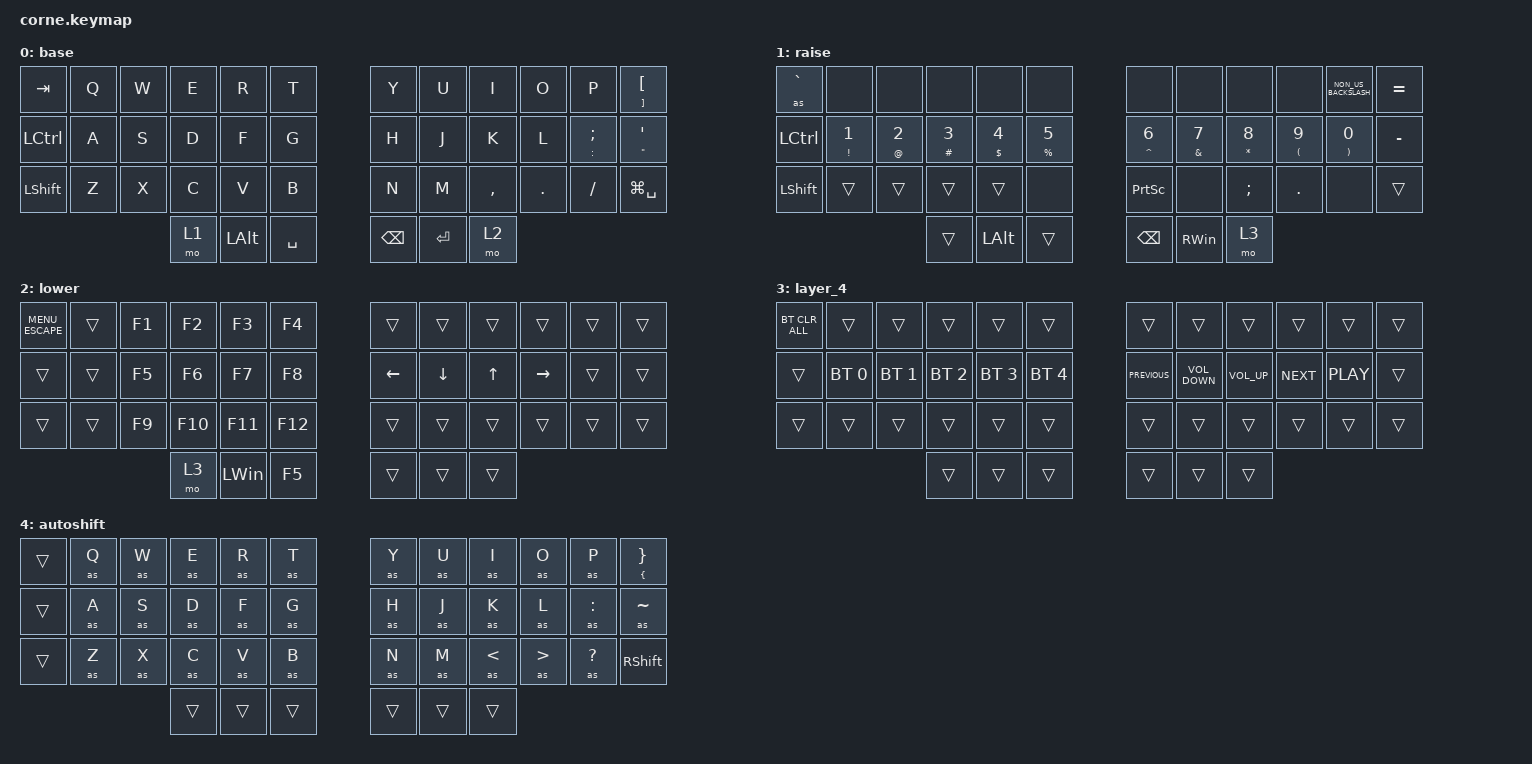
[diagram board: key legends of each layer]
/*
 * Copyright (c) 2020 The ZMK Contributors
 *
 * SPDX-License-Identifier: MIT
 */

#include <behaviors.dtsi>
#include <dt-bindings/zmk/bt.h>
#include <dt-bindings/zmk/keys.h>
#include <dt-bindings/zmk/rgb.h>

/*
 * Temporarily here because nice nano v2 spi is not defined on ZMk Yet
 * Source: https://github.com/zmkfirmware/zmk/blob/main/app/boards/shields/reviung41/boards/nice_nano.overlay
 * GitHub Issue: https://github.com/zmkfirmware/zmk/issues/885
 */

#include <dt-bindings/led/led.h>

&pinctrl {
    spi3_default: spi3_default {
        group1 {
            psels = <NRF_PSEL(SPIM_MOSI, 0, 6)>;
        };
    };

    spi3_sleep: spi3_sleep {
        group1 {
            psels = <NRF_PSEL(SPIM_MOSI, 0, 6)>;
            low-power-enable;
        };
    };
};

&spi3 {
  compatible = "nordic,nrf-spim";
  status = "okay";

  pinctrl-0 = <&spi3_default>;
  pinctrl-1 = <&spi3_sleep>;
  pinctrl-names = "default", "sleep";

  led_strip: ws2812@0 {
    compatible = "worldsemi,ws2812-spi";

    /* SPI */
    reg = <0>; /* ignored, but necessary for SPI bindings */
    spi-max-frequency = <4000000>;

    /* WS2812 */
    chain-length = <27>; /* number of LEDs */
    spi-one-frame = <0x70>;
    spi-zero-frame = <0x40>;
    color-mapping = <LED_COLOR_ID_GREEN
                          LED_COLOR_ID_RED
                          LED_COLOR_ID_BLUE>;
  };
};

/ {
	chosen {
		zmk,underglow = &led_strip;
	};
};

#include <behaviors.dtsi>
#include <dt-bindings/zmk/bt.h>
#include <dt-bindings/zmk/keys.h>
#include <dt-bindings/zmk/rgb.h>

/ {
    macros {
        rgb_layer: rgb_layer {
            compatible = "zmk,behavior-macro-two-param";
            #binding-cells = <2>;
            bindings =
                <&macro_param_2to2 &rgb_ug RGB_COLOR_HSB_CMD MACRO_PLACEHOLDER &macro_param_1to1>,
                <&macro_press>,
                <&mo MACRO_PLACEHOLDER>,
                <&macro_pause_for_release>,
                <&macro_release>,
                <&macro_param_1to1 &mo MACRO_PLACEHOLDER>,
                <&macro_tap>,
                <&rgb_ug RGB_TOG>;

            label = "RGB_LAYER";
        };

        as: as {
            compatible = "zmk,behavior-macro-one-param";
            #binding-cells = <1>;
            bindings =
                <&macro_press>,
                <&macro_param_1to1 &macro_param_1to2 &as_ht MACRO_PLACEHOLDER MACRO_PLACEHOLDER>,
                <&macro_pause_for_release>,
                <&macro_release>,
                <&macro_param_1to1 &macro_param_1to2 &as_ht MACRO_PLACEHOLDER MACRO_PLACEHOLDER>;

            label = "AS";
        };

        shift: shift {
            compatible = "zmk,behavior-macro-one-param";
            #binding-cells = <1>;
            bindings =
                <&macro_press>,
                <&kp LEFT_SHIFT>,
                <&macro_tap>,
                <&macro_param_1to1 &kp MACRO_PLACEHOLDER>,
                <&macro_release>,
                <&kp LEFT_SHIFT>;

            label = "SHIFT";
        };

        not_eq: not_eq {
            compatible = "zmk,behavior-macro";
            #binding-cells = <0>;
            bindings = <&kp EXCLAMATION &kp EQUAL>;
            label = "NOT_EQ";
        };

        go_new_var: go_new_var {
            compatible = "zmk,behavior-macro";
            #binding-cells = <0>;
            bindings = <&kp COLON &kp EQUAL>;
            label = "GO_NEW_VAR";
        };

        eq_eq: eq_eq {
            compatible = "zmk,behavior-macro";
            #binding-cells = <0>;
            bindings = <&kp EQUAL &kp EQUAL>;
            label = "EQ_EQ";
        };

        gt_eq: gt_eq {
            compatible = "zmk,behavior-macro";
            #binding-cells = <0>;
            bindings = <&kp GT &kp EQUAL>;
            label = "GT_EQ";
        };

        lt_eq: lt_eq {
            compatible = "zmk,behavior-macro";
            #binding-cells = <0>;
            bindings = <&kp LT &kp EQUAL>;
            label = "LT_EQ";
        };
    };

    behaviors {
        rhold: rhold {
            compatible = "zmk,behavior-hold-tap";
            label = "RHOLD";
            bindings = <&kp>, <&kp>;

            #binding-cells = <2>;
            tapping-term-ms = <200>;
            hold-trigger-key-positions = <6 7 8 9 10 11 18 19 20 21 22 23 30 31 32 33 34 35 39 40 41>;
        };

        lhold: lhold {
            compatible = "zmk,behavior-hold-tap";
            label = "LHOLD";
            bindings = <&kp>, <&kp>;

            #binding-cells = <2>;
            hold-trigger-key-positions = <0 1 2 3 4 5 12 13 14 15 16 17 24 25 26 27 28 29 36 37 38>;
            tapping-term-ms = <200>;
        };

        as_ht: autoshift_hold_tap {
            compatible = "zmk,behavior-hold-tap";
            label = "AUTOSHIFT_HOLD_TAP";
            bindings = <&shift>, <&kp>;

            #binding-cells = <2>;
            tapping-term-ms = <200>;
            flavor = "tap-preferred";
        };
    };

    combos {
        compatible = "zmk,combos";

        shift {
            bindings = <&kp LEFT_SHIFT>;
            key-positions = <8 9>;
        };
    };

    keymap {
        compatible = "zmk,keymap";

        base {
            bindings = <
&kp TAB         &kp Q  &kp W  &kp E  &kp R         &kp T        &kp Y          &kp U      &kp I      &kp O    &kp P                   &rhold RIGHT_BRACKET LEFT_BRACKET
&kp LCTRL       &kp A  &kp S  &kp D  &kp F         &kp G        &kp H          &kp J      &kp K      &kp L    &rhold COLON SEMICOLON  &rhold DOUBLE_QUOTES SQT
&kp LEFT_SHIFT  &kp Z  &kp X  &kp C  &kp V         &kp B        &kp N          &kp M      &kp COMMA  &kp DOT  &kp SLASH               &kp LG(SPACE)
                              &mo 1  &kp LEFT_ALT  &kp SPACE    &kp BACKSPACE  &kp ENTER  &mo 2
            >;
        };

        raise {
            bindings = <
&as GRAVE   &none                        &none                    &none                 &none                   &none                      &none                  &none                      &none                     &none                             &kp NON_US_BACKSLASH               &kp EQUAL
&kp LCTRL   &rhold EXCLAMATION NUMBER_1  &rhold AT_SIGN NUMBER_2  &rhold HASH NUMBER_3  &rhold DOLLAR NUMBER_4  &rhold PERCENT NUMBER_5    &rhold CARET NUMBER_6  &rhold AMPERSAND NUMBER_7  &rhold ASTERISK NUMBER_8  &rhold LEFT_PARENTHESIS NUMBER_9  &rhold RIGHT_PARENTHESIS NUMBER_0  &kp MINUS
&kp LSHIFT  &trans                       &trans                   &trans                &trans                  &none                      &kp PRINTSCREEN        &none                      &kp SEMICOLON             &kp PERIOD                        &none                              &trans
                                                                  &trans                &kp LEFT_ALT            &trans                     &kp BACKSPACE          &kp RIGHT_WIN              &mo 3
            >;
        };

        lower {
            bindings = <
&kp C_MENU_ESCAPE  &trans  &kp F1   &kp F2   &kp F3        &kp F4    &trans          &trans          &trans        &trans     &trans  &trans
&trans             &trans  &kp F5   &kp F6   &kp F7 	   &kp F8    &kp LEFT_ARROW  &kp DOWN_ARROW  &kp UP_ARROW  &kp RIGHT  &trans  &trans
&trans             &trans  &kp F9   &kp F10  &kp F11	   &kp F12   &trans          &trans          &trans        &trans     &trans  &trans
                                    &mo 3    &kp LEFT_WIN  &kp F5    &trans          &trans          &trans
            >;
        };

        layer_4 {
            bindings = <
&bt BT_CLR_ALL  &trans        &trans        &trans        &trans        &trans          &trans          &trans             &trans           &trans      &trans      &trans
&trans          &bt BT_SEL 0  &bt BT_SEL 1  &bt BT_SEL 2  &bt BT_SEL 3  &bt BT_SEL 4    &kp C_PREVIOUS  &kp C_VOLUME_DOWN  &kp C_VOLUME_UP  &kp C_NEXT  &kp C_PLAY  &trans
&trans          &trans        &trans        &trans        &trans        &trans          &trans          &trans             &trans           &trans      &trans      &trans
                                            &trans        &trans        &trans          &trans          &trans             &trans
            >;
        };

        autoshift {
            bindings = <
&trans  &as Q  &as W  &as E   &as R   &as T     &as Y   &as U   &as I          &as O             &as P         &rhold LEFT_BRACE RIGHT_BRACE
&trans  &as A  &as S  &as D   &as F   &as G     &as H   &as J   &as K          &as L             &as COLON     &as TILDE
&trans  &as Z  &as X  &as C   &as V   &as B     &as N   &as M   &as LESS_THAN  &as GREATER_THAN  &as QUESTION  &kp RSHFT
                      &trans  &trans  &trans    &trans  &trans  &trans
            >;
        };
    };
};


